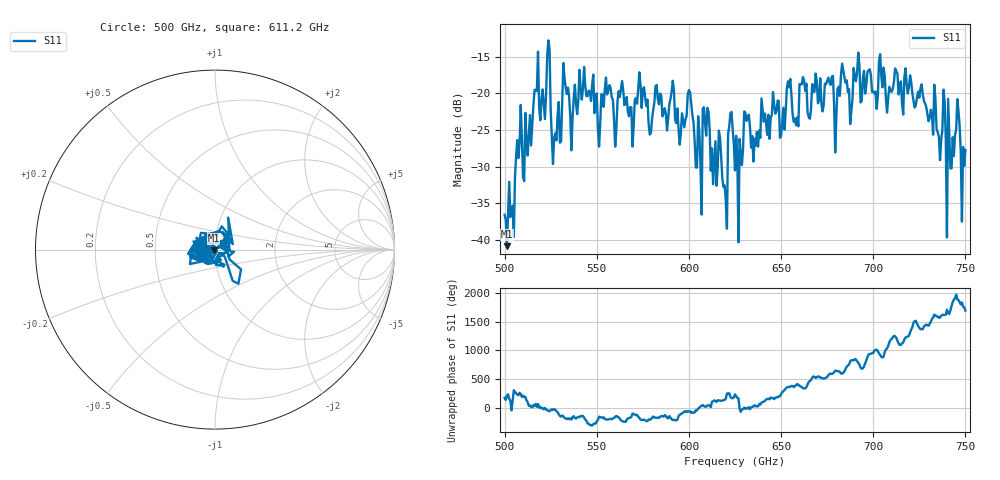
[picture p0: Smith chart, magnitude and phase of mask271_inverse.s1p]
!Created with skrf (http://scikit-rf.org).
# GHz S MA R 50.0
!freq magS11 angS11
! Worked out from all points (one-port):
!   401 points, 500 GHz to 750 GHz, reference 50 ohm
!   lowest |S11| = -40.9 dB at 501.2 GHz (marker M1), VSWR 1.02, Z = 49.2 - j0.477 ohm
!   |S11| at or under -10 dB: start of sweep to end of sweep
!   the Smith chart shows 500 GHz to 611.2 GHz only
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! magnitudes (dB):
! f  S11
! 500 GHz  -36.6
! 501.2 GHz  -40.9
! 516.9 GHz  -19.5
! 520.6 GHz  -19.5
! 523.8 GHz  -12.8
! 526.9 GHz  -26.1
! 531.2 GHz  -21.1
! 562.5 GHz  -20.5
! 579.4 GHz  -25.4
! 590.6 GHz  -19.7
! 593.8 GHz  -22.0
! 600.6 GHz  -19.8
! 605.6 GHz  -25.2
! 609.4 GHz  -25.8
! 619.4 GHz  -32.6
! 622.5 GHz  -22.7
! 625 GHz  -30.5
! 656.2 GHz  -22.8
! 676.9 GHz  -18.8
! 680 GHz  -22.9
! 683.8 GHz  -16.9
! 687.5 GHz  -24.2
! 691.2 GHz  -17.1
! 718.8 GHz  -20.0
! 738.1 GHz  -19.5
! 741.2 GHz  -25.4
! 745.6 GHz  -20.8
! 750 GHz  -27.7
